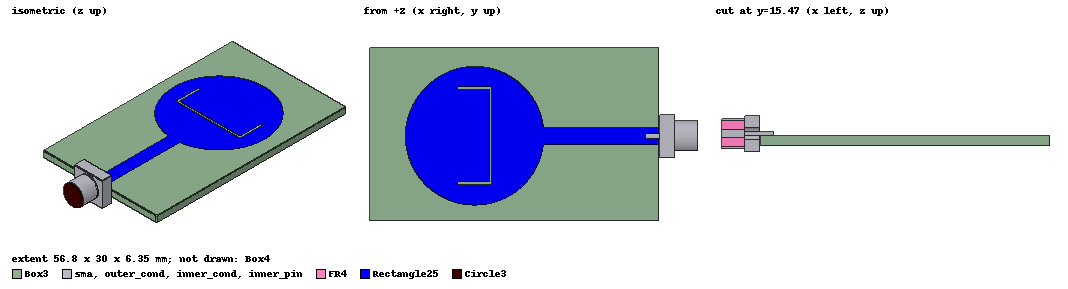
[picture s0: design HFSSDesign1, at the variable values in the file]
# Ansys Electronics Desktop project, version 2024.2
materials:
  vacuum: permittivity=1
  FR4_epoxy: permittivity=4.4 dielectric_loss_tangent=0.02
  copper: permeability=0.999991 conductivity=58000000
  Teflon (tm): permittivity=2.1 dielectric_loss_tangent=0.001
  pec: conductivity=1e+30

design HFSSDesign1 (HFSS, HFSS Modal Network, model units mm)
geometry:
  Box3 [FR4_epoxy] = box(corner=(-1.2mm, 0.8mm, 0mm), size=(50mm, 30mm, 1.6mm))
  Box4 [vacuum] = box(corner=(-17mm, -24mm, -20mm), size=(80mm, 80mm, 40mm))
  Ground1 = rectangle(corner=(48.8mm, 0.8mm, 0mm), x_size=-20mm, y_size=30mm)
  Rectangle22 = rectangle(corner=(28.8mm, 13.75mm, 0mm), x_size=3.5mm, y_size=3.5mm)
  Ground1.subtract(Rectangle22)
  Circle2 = circle(normal=Z, centre=(17mm, 15.5mm, 1.6mm), radius=12mm)
  Rectangle18 = rectangle(corner=(48.8mm, 17mm, 1.6mm), x_size=-20.47mm, y_size=-3mm)
  Circle2.unite(Rectangle18)
  Rectangle19 = rectangle(corner=(21mm, 23.5mm, 1.6mm), x_size=-0.5mm, y_size=-16mm)
  Rectangle20 = rectangle(corner=(21mm, 23.5mm, 1.6mm), x_size=-6mm, y_size=0.5mm)
  Rectangle21 = rectangle(corner=(21mm, 7.5mm, 1.6mm), x_size=-6mm, y_size=-0.5mm)
  Rectangle19.unite(Rectangle20, Rectangle21)
  Circle2.subtract(Rectangle19)
  Rectangle23 = rectangle(corner=(20.5mm, 23.5mm, 1.6mm), x_size=0.5mm, y_size=-16.5mm)
  Rectangle24 = rectangle(corner=(15mm, 7.5mm, 1.6mm), x_size=5.5mm, y_size=-0.5mm)
  Rectangle25 = rectangle(corner=(15mm, 24mm, 1.6mm), x_size=6mm, y_size=-0.5mm)
  Rectangle25.unite(Rectangle24, Rectangle23, Circle2)
  Rectangle26 = rectangle(corner=(27mm, 7mm, 0mm), x_size=-0.5mm, y_size=17mm)
  Rectangle27 = rectangle(corner=(27mm, 7mm, 0mm), x_size=-6mm, y_size=-0.5mm)
  Rectangle28 = rectangle(corner=(27mm, 24mm, 0mm), x_size=-6mm, y_size=0.5mm)
  Rectangle26.unite(Rectangle27, Rectangle28)
  Rectangle29 = rectangle(corner=(21.5mm, 7mm, 0mm), x_size=-0.5mm, y_size=-1.2mm)
  Rectangle30 = rectangle(corner=(21.5mm, 24mm, 0mm), x_size=-0.5mm, y_size=1.2mm)
  Rectangle30.unite(Rectangle29, Rectangle26)
  Rectangle31 = rectangle(corner=(20mm, 23.5mm, 1.6mm), x_size=-0.5mm, y_size=-16mm)
  Rectangle32 = rectangle(corner=(20mm, 7.5mm, 1.6mm), x_size=-6mm, y_size=-0.5mm)
  Rectangle33 = rectangle(corner=(20mm, 23.5mm, 1.6mm), x_size=-6mm, y_size=0.5mm)
  Rectangle31.unite(Rectangle32, Rectangle33)
  Rectangle25.subtract(Rectangle31)
  sma [pec] = box(corner=(65mm, 115mm, 0mm), size=(2.5mm, 7.35mm, 6.35mm))
  sma.move(32.5mm, -55mm, -1.35mm)
  coordinate_system RelativeCS1 = origin=(100mm, 63.675mm, 1.825mm) x=(1mm, 0mm, 0mm) y=(0mm, 1mm, 0mm)
  vac = cylinder(axis=X, base_centre=(-2.5mm, 0mm, 0mm), radius=1mm, height=2.5mm) in RelativeCS1
  sma.subtract(vac)
  inner_pin [pec] = cylinder(axis=X, base_centre=(0mm, 0mm, 0mm), radius=0.43mm, height=-5mm) in RelativeCS1
  outer_cond [pec] = cylinder(axis=X, base_centre=(0mm, 0mm, 0mm), radius=2.6mm, height=4mm) in RelativeCS1
  FR4 [FR4_epoxy] = cylinder(axis=X, base_centre=(0mm, 0mm, 0mm), radius=2.2mm, height=4mm) in RelativeCS1
  teflon_1 = FR4.copy()
  outer_cond.subtract(teflon_1)
  inner_cond [pec] = cylinder(axis=X, base_centre=(0mm, 0mm, 0mm), radius=0.63mm, height=4mm) in RelativeCS1
  inner_cond_1 = inner_cond.copy()
  FR4.subtract(inner_cond_1)
  coordinate_system RelativeCS2 = origin=(4mm, 0mm, 0mm) x=(1mm, 0mm, 0mm) y=(0mm, 1mm, 0mm) in RelativeCS1
  Circle3 = circle(normal=X, centre=(0mm, 0mm, 0mm), radius=2.6mm) in RelativeCS2
  [sma, inner_pin, outer_cond, FR4, inner_cond, Circle3].move(-48.7mm, -48.12mm, 0.02mm) in RelativeCS2
  [sma, FR4, outer_cond, inner_pin, inner_cond, Circle3].move(-2.1316282e-14mm, -11.08mm, -1.045mm) in RelativeCS2
  [sma, FR4, outer_cond, inner_pin, inner_cond, Circle3].move(1.4210855e-14mm, 11mm, 0.025mm) in RelativeCS2
  [inner_pin, inner_cond, outer_cond, sma, FR4, Circle3].move(-7.1054274e-15mm, -2.1316282e-14mm, 1.23mm) in RelativeCS2
  [inner_pin, inner_cond, outer_cond, sma, FR4].move(0mm, 0mm, -0.025mm) in RelativeCS2
  [inner_pin, inner_cond, outer_cond, sma, Circle3, FR4].move(0.3mm, 0mm, 0.025mm) in RelativeCS2
  [inner_pin, outer_cond, sma, inner_cond, Circle3, FR4].move(1.4210855e-14mm, 0mm, -0.025mm) in RelativeCS2
  FR4_1 = FR4.copy()
  outer_cond.subtract(FR4_1)
  inner_cond_2 = inner_cond.copy()
  FR4.subtract(inner_cond_2)
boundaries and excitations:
  Rad2: Radiation Objects=Box4
  PerfE4: Perfect E Objects=Ground1
  PerfE5: Perfect E Objects=Rectangle30
  PerfE1: Perfect E Objects=Rectangle25
  1: Lumped Port Objects=Circle3 LumpedPortType=Modal Modes{Mode1{IntLine{(55600mm, 15675mm, 4225mm) -> (55600mm, 15675mm, 2625mm)} CharImp=Zpi RenormImp=50ohm}} Impedance=50ohm
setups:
  Setup1: HfssDriven Frequency=2.27GHz MaxDeltaS=0.02 MaximumPasses=10 MinimumPasses=1 MinimumConvergedPasses=1 PercentRefinement=30 BasisOrder=1 PortAccuracy=2 DrivenSolverType="Direct Solver"
    sweep Sweep: 2GHz to 15GHz step 0.07GHz; Type=Discrete SaveFields
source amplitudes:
  1:1: 1W 0deg
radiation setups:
  Infinite Sphere1: Infinite Sphere Theta=0deg..360deg step 1deg Phi=0deg..90deg step 90deg
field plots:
  Vector_Jsurf1, Vector_Jsurf2: Jsurf over Ground1.face(at (38.8, 15.8, 0)) Rectangle25.face(at (26.7686, 15.5, 1.6)) Rectangle30.face(at (24, 15.5, 0)) on Setup1 : Sweep at Freq=2GHz Phase=0deg
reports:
  S Parameter Plot 1: dB(S(1,1)) vs Freq on Setup1 : Sweep
  VSWR Plot 1: VSWR(1) vs Freq on Setup1 : Sweep
  Realized Gain Plot 1: dB(RealizedGainTotal) vs Freq on Setup1 : Sweep, Infinite Sphere1 [Phi=0deg Theta=0deg]
  Gain Plot 1 at 2.54 GHz: dB(RealizedGainCoPolar), dB(RealizedGainCrossPolar) vs Theta on Setup1 : Sweep, Infinite Sphere1 [Phi=0deg Freq=2.49GHz]
  Gain Plot 2 at 2.5 GHz: dB(RealizedGainCoPolar), dB(RealizedGainCrossPolar) vs Theta on Setup1 : Sweep, Infinite Sphere1 [Phi=90deg Freq=2.49GHz]
  Gain Plot 1 at 4.2 GHz: dB(RealizedGainCoPolar), dB(RealizedGainCrossPolar) vs Theta on Setup1 : Sweep, Infinite Sphere1 [Phi=0deg Freq=4.24GHz]
  Realized Gain Plot 2 at 4.4 GHz: dB(RealizedGainCoPolar), dB(RealizedGainCrossPolar) vs Theta on Setup1 : Sweep, Infinite Sphere1 [Phi=90deg Freq=4.24GHz]
  Realized Gain Plot 1 at 7.7 GHz: dB(RealizedGainCoPolar), dB(RealizedGainCrossPolar) vs Theta on Setup1 : Sweep, Infinite Sphere1 [Phi=0deg Freq=7.67GHz]
  Realized Gain Plot 2 at 7.7 GHz: dB(RealizedGainCoPolar), dB(RealizedGainCrossPolar) vs Theta on Setup1 : Sweep, Infinite Sphere1 [Phi=90deg Freq=7.74GHz]
  VSWR Plot 3: VSWR(1) vs Freq on Setup1 : Sweep
  Gain Plot 1: GainCoPolar vs Theta on Setup1 : LastAdaptive, Infinite Sphere1 [Phi=all Freq=2.27GHz]
  Gain Plot 2: GainCoPolar vs Theta on Setup1 : LastAdaptive, Infinite Sphere1 [Phi=all Freq=2.27GHz]
  Gain Plot 3: GainCoPolar vs Theta on Setup1 : LastAdaptive, Infinite Sphere1 [Phi=all Freq=2.27GHz]
  Realized Gain Plot 2: RealizedGainTotal vs Theta on Setup1 : LastAdaptive, Infinite Sphere1 [Phi=0deg Freq=2.27GHz]
  S Parameter Plot 2: dB(S(1,1)) vs Freq on Setup1 : Sweep
